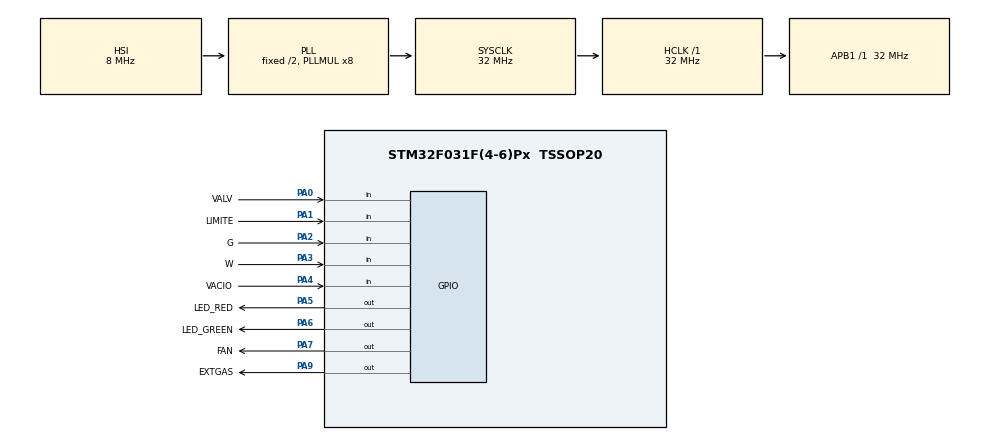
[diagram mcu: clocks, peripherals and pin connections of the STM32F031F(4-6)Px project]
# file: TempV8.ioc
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Mcu.Family=STM32F0
Mcu.Name=STM32F031F(4-6)Px
Mcu.Package=TSSOP20
NVIC.TIM16_IRQn=true\:0\:0\:false\:false\:true\:true\:true
PA0.GPIO_Label=VALV
PA0.Signal=GPIO_Input
PA1.GPIO_Label=LIMITE
PA1.Signal=GPIO_Input
PA13.Mode=Serial_Wire
PA13.Signal=SYS_SWDIO
PA14.Mode=Serial_Wire
PA14.Signal=SYS_SWCLK
PA2.GPIO_Label=G
PA2.Signal=GPIO_Input
PA3.GPIO_Label=W
PA3.Signal=GPIO_Input
PA4.GPIO_Label=VACIO
PA4.Signal=GPIO_Input
PA5.GPIO_Label=LED_RED
PA5.GPIO_Speed=GPIO_SPEED_FREQ_HIGH
PA5.Signal=GPIO_Output
PA6.GPIO_Label=LED_GREEN
PA6.GPIO_Speed=GPIO_SPEED_FREQ_HIGH
PA6.Signal=GPIO_Output
PA7.GPIO_Label=FAN
PA7.GPIO_Speed=GPIO_SPEED_FREQ_HIGH
PA7.Signal=GPIO_Output
PA9.GPIO_Label=EXTGAS
PA9.GPIO_Speed=GPIO_SPEED_FREQ_HIGH
PA9.Signal=GPIO_Output
ProjectManager.HeapSize=0x200
ProjectManager.StackSize=0x400
ProjectManager.TargetToolchain=STM32CubeIDE
RCC.AHBFreq_Value=32000000
RCC.APB1Freq_Value=32000000
RCC.APB1TimFreq_Value=32000000
RCC.HCLKFreq_Value=32000000
RCC.PLLMUL=RCC_PLL_MUL8
RCC.SYSCLKFreq_VALUE=32000000
RCC.SYSCLKSource=RCC_SYSCLKSOURCE_PLLCLK
TIM16.Period=5000 - 1
TIM16.Prescaler=3200 - 1
VP_TIM16_VS_ClockSourceINT.Mode=Enable_Timer
board=custom

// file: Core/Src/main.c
/* USER CODE BEGIN Header */
/**
  ******************************************************************************
  * @file           : main.c
  * @brief          : Main program body
  ******************************************************************************
  * @attention
  *
  * <h2><center>&copy; Copyright (c) 2023 STMicroelectronics.
  * All rights reserved.</center></h2>
  *
  * This software component is licensed by ST under BSD 3-Clause license,
  * the "License"; You may not use this file except in compliance with the
  * License. You may obtain a copy of the License at:
  *                        opensource.org/licenses/BSD-3-Clause
  *
  ******************************************************************************
  */
/* USER CODE END Header */
#include "main.h"

/* USER CODE BEGIN PD */
#define CLOSE 1
#define OPEN 0

#define FAIL_LIMIT 3
#define ERROR 1
#define CLEAR 0

#define G_sw 0
#define W_sw 1
#define LIM_sw 2
#define VALV_sw 3
#define VACIO_sw 4

#define ON 1
#define OFF 0
#define HEAT 1
#define COOL 2
#define HEAT_VENT 3
/* USER CODE END PD */

/* USER CODE BEGIN PM */
#define G HAL_GPIO_ReadPin(G_GPIO_Port, G_Pin)
#define W HAL_GPIO_ReadPin(W_GPIO_Port, W_Pin)
#define LIMITE HAL_GPIO_ReadPin(LIMITE_GPIO_Port, LIMITE_Pin)
#define VALV HAL_GPIO_ReadPin(VALV_GPIO_Port, VALV_Pin)
#define VACIO HAL_GPIO_ReadPin(VACIO_GPIO_Port, VACIO_Pin)

#define FAN_OFF HAL_GPIO_WritePin(FAN_GPIO_Port, FAN_Pin, OFF)
#define FAN_ON HAL_GPIO_WritePin(FAN_GPIO_Port, FAN_Pin, ON)
#define FAN_STATUS HAL_GPIO_ReadPin(FAN_GPIO_Port, FAN_Pin)

#define EXTGAS_OFF HAL_GPIO_WritePin(EXTGAS_GPIO_Port, EXTGAS_Pin, OFF)
#define EXTGAS_ON HAL_GPIO_WritePin(EXTGAS_GPIO_Port, EXTGAS_Pin, ON)
#define EXTGAS_STATUS HAL_GPIO_ReadPin(EXTGAS_GPIO_Port, EXTGAS_Pin)

#define LED_GREEN_OFF HAL_GPIO_WritePin(LED_GREEN_GPIO_Port, LED_GREEN_Pin, OFF)
#define LED_GREEN_ON HAL_GPIO_WritePin(LED_GREEN_GPIO_Port, LED_GREEN_Pin, ON)
#define LED_GREEN_TOGGLE HAL_GPIO_TogglePin(LED_GREEN_GPIO_Port, LED_GREEN_Pin)
#define LED_GREEN_STATUS HAL_GPIO_ReadPin(LED_GREEN_GPIO_Port, LED_GREEN_Pin)

#define LED_RED_OFF HAL_GPIO_WritePin(LED_RED_GPIO_Port, LED_RED_Pin, OFF)
#define LED_RED_ON HAL_GPIO_WritePin(LED_RED_GPIO_Port, LED_RED_Pin, ON)
#define LED_RED_TOGGLE HAL_GPIO_TogglePin(LED_RED_GPIO_Port, LED_RED_Pin)
#define LED_RED_STATUS HAL_GPIO_ReadPin(LED_RED_GPIO_Port, LED_RED_Pin)
/* USER CODE END PM */

TIM_HandleTypeDef htim16;

/* USER CODE BEGIN PV */
uint16_t proc_heat = 1, proc_cool = 1;
uint16_t sys = 0, cont = 0, cont_c = 0, hab_timer = 0, hab_timer_c = 0;
uint16_t fail_times = 0, fail_state = 0;
uint16_t state_vars[5] = {0,0,1,0,0}; // Variables used
uint16_t input_state[5] = {0,0,1,0,0}, count_vars[5] = {0,0,0,0,0};

// sys: 0 - OFF
//	    1 - HEAT
//      2 - COOL
//		3 - HEAT + Fixed FAN

/* USER CODE END PV */

void SystemClock_Config(void);
static void MX_GPIO_Init(void);
static void MX_TIM16_Init(void);
/* USER CODE BEGIN PFP */
void input_chk(void);        // Read inputs to work with '_sw' variables
void proc_state_vars(void);  // Process state variables
void main_sys(void);         // FSM
void indicator_update(void); // Sets LED outputs
void heat_process(void);	 // HEAT sequence
void cool_process(void);	 // COOL sequence
/* USER CODE END PFP */

/* USER CODE BEGIN 0 */
FLASH_OBProgramInitTypeDef OptionsBytesInit = {0};
/* USER CODE END 0 */

int main(void)
{

  /* MCU Configuration--------------------------------------------------------*/

  /* Reset of all peripherals, Initializes the Flash interface and the Systick. */
  HAL_Init();

  /* Configure the system clock */
  SystemClock_Config();

  /* USER CODE BEGIN SysInit */
  // RDP Level 1 Setting Start //
//  HAL_RCC_DeInit();
//  SysTick->CTRL = 0;
//  SysTick->LOAD = 0;
//  SysTick->VAL = 0;
//  __disable_irq();
  __HAL_FLASH_PREFETCH_BUFFER_DISABLE();
  /* Unlock Flash Control register and Option Bytes */
  HAL_FLASH_Unlock();
  HAL_FLASH_OB_Unlock();
  HAL_FLASHEx_OBGetConfig(&OptionsBytesInit);

  if(OptionsBytesInit.RDPLevel!=OB_RDP_LEVEL_1)
  {
	  /* First step: Choose option byte type.*/
	  OptionsBytesInit.OptionType =OPTIONBYTE_RDP;
	  OptionsBytesInit.RDPLevel = OB_RDP_LEVEL_1;
	  /* Program Option Bytes */
	  HAL_FLASHEx_OBProgram(&OptionsBytesInit);
	  /* Launch Option Bytes Loading */
	  HAL_FLASH_OB_Launch();
  }
  // RDP Level 1 Setting End //
  /* USER CODE END SysInit */

  /* Initialize all configured peripherals */
  MX_GPIO_Init();
  MX_TIM16_Init();
  /* USER CODE BEGIN 2 */
  HAL_TIM_Base_Start_IT(&htim16);

  /* USER CODE END 2 */

  /* Infinite loop */
  while (1)
  {

    /* USER CODE BEGIN 3 */
	proc_state_vars();
	main_sys();
  }
  /* USER CODE END 3 */
}

void SystemClock_Config(void)
{
  RCC_OscInitTypeDef RCC_OscInitStruct = {0};
  RCC_ClkInitTypeDef RCC_ClkInitStruct = {0};

  /** Initializes the RCC Oscillators according to the specified parameters
  * in the RCC_OscInitTypeDef structure.
  */
  RCC_OscInitStruct.OscillatorType = RCC_OSCILLATORTYPE_HSI;
  RCC_OscInitStruct.HSIState = RCC_HSI_ON;
  RCC_OscInitStruct.HSICalibrationValue = RCC_HSICALIBRATION_DEFAULT;
  RCC_OscInitStruct.PLL.PLLState = RCC_PLL_ON;
  RCC_OscInitStruct.PLL.PLLSource = RCC_PLLSOURCE_HSI;
  RCC_OscInitStruct.PLL.PLLMUL = RCC_PLL_MUL8;
  RCC_OscInitStruct.PLL.PREDIV = RCC_PREDIV_DIV1;
  if (HAL_RCC_OscConfig(&RCC_OscInitStruct) != HAL_OK)
  {
    Error_Handler();
  }
  /** Initializes the CPU, AHB and APB buses clocks
  */
  RCC_ClkInitStruct.ClockType = RCC_CLOCKTYPE_HCLK|RCC_CLOCKTYPE_SYSCLK
                              |RCC_CLOCKTYPE_PCLK1;
  RCC_ClkInitStruct.SYSCLKSource = RCC_SYSCLKSOURCE_PLLCLK;
  RCC_ClkInitStruct.AHBCLKDivider = RCC_SYSCLK_DIV1;
  RCC_ClkInitStruct.APB1CLKDivider = RCC_HCLK_DIV1;

  if (HAL_RCC_ClockConfig(&RCC_ClkInitStruct, FLASH_LATENCY_1) != HAL_OK)
  {
    Error_Handler();
  }
}

static void MX_TIM16_Init(void)
{

  htim16.Instance = TIM16;
  htim16.Init.Prescaler = 3200 - 1;
  htim16.Init.CounterMode = TIM_COUNTERMODE_UP;
  htim16.Init.Period = 5000 - 1;
  htim16.Init.ClockDivision = TIM_CLOCKDIVISION_DIV1;
  htim16.Init.RepetitionCounter = 0;
  htim16.Init.AutoReloadPreload = TIM_AUTORELOAD_PRELOAD_DISABLE;
  if (HAL_TIM_Base_Init(&htim16) != HAL_OK)
  {
    Error_Handler();
  }

}

static void MX_GPIO_Init(void)
{
  GPIO_InitTypeDef GPIO_InitStruct = {0};

  /* GPIO Ports Clock Enable */
  __HAL_RCC_GPIOA_CLK_ENABLE();

  /*Configure GPIO pin Output Level */
  HAL_GPIO_WritePin(GPIOA, LED_RED_Pin|LED_GREEN_Pin|FAN_Pin|EXTGAS_Pin, GPIO_PIN_RESET);

  /*Configure GPIO pins : VALV_Pin LIMITE_Pin G_Pin W_Pin
                           VACIO_Pin */
  GPIO_InitStruct.Pin = VALV_Pin|LIMITE_Pin|G_Pin|W_Pin
                          |VACIO_Pin;
  GPIO_InitStruct.Mode = GPIO_MODE_INPUT;
  GPIO_InitStruct.Pull = GPIO_NOPULL;
  HAL_GPIO_Init(GPIOA, &GPIO_InitStruct);

  /*Configure GPIO pins : LED_RED_Pin LED_GREEN_Pin FAN_Pin EXTGAS_Pin */
  GPIO_InitStruct.Pin = LED_RED_Pin|LED_GREEN_Pin|FAN_Pin|EXTGAS_Pin;
  GPIO_InitStruct.Mode = GPIO_MODE_OUTPUT_PP;
  GPIO_InitStruct.Pull = GPIO_NOPULL;
  GPIO_InitStruct.Speed = GPIO_SPEED_FREQ_HIGH;
  HAL_GPIO_Init(GPIOA, &GPIO_InitStruct);

}

/* USER CODE BEGIN 4 */
void HAL_TIM_PeriodElapsedCallback(TIM_HandleTypeDef *htim)
{
	if(htim == &htim16)
	{
		// Elapsed 0.5s
		if(hab_timer == 1){ // General counter
			cont++;
		}else{
			cont = 0;
		}

		if(hab_timer_c == 1){ // General counter
			cont_c++;
		}else{
			cont_c = 0;
		}

		input_chk();
		indicator_update();
	}
}

void input_chk(void)
{
	uint16_t i = 0;
	// Read actual input states
	input_state[0] = G;
	input_state[1] = W;
	input_state[2] = LIMITE;
	input_state[3] = VALV;
	input_state[4] = VACIO;
	// Process new states
	for(i = 0; i < 6; i++){
		if(input_state[i] != state_vars[i]){
			if((input_state[i] == CLOSE)&&(state_vars[i] == OPEN)){
				count_vars[i]++;
				if(count_vars[i] == 6){ // 3s
					state_vars[i] = CLOSE;
				}
			}
			else if((input_state[i] == OPEN)&&(state_vars[i] == CLOSE)){
				count_vars[i]++;
				if(count_vars[i] == 6){ // 3s
					state_vars[i] = OPEN;
				}
			}
		}else{
			if(count_vars[i] != 0) count_vars[i] = 0;
		}
	}

}

void proc_state_vars(void){
	if(state_vars[LIM_sw] == CLOSE){ // Normal operation
		if(sys == OFF){
			if(state_vars[G_sw] == CLOSE){
				sys = COOL;
			}else if(state_vars[W_sw] == CLOSE){
				sys = HEAT;
			}
		}

		if(fail_state == ERROR){
			fail_state = CLEAR;
			if(state_vars[G_sw] == OPEN){
				FAN_OFF;
			}
			proc_heat = 1;
		}
	}
	if(state_vars[LIM_sw] == OPEN){ // Limit OPEN
		if(fail_state == CLEAR){
			fail_state = ERROR;
			fail_times++;
			if(fail_times >= FAIL_LIMIT){
				sys = HEAT;
				hab_timer = 0;
				cont = 0;
				proc_heat = 5;
				EXTGAS_OFF;
				FAN_ON;
				while(1){
					// Endless block
				}
			}
		}
		if((sys != HEAT)||(proc_heat != 5)){
			sys = HEAT;
			hab_timer = 0;
			cont = 0;
			hab_timer_c = 0;
			cont_c = 0;
			proc_cool = 1;
			proc_heat = 5;
			EXTGAS_OFF;
			FAN_ON;
		}
		if(EXTGAS_STATUS == ON){
			EXTGAS_OFF;
		}
	}
}

void main_sys(void){
	switch(sys){
	case OFF:
		// System OFF
		break;
	case COOL:
		cool_process();
		break;
	case HEAT:
		heat_process();
		break;
	case HEAT_VENT:
		cool_process();
		heat_process();
	}
}

void indicator_update(void){
	if(fail_times >= FAIL_LIMIT){
		LED_GREEN_OFF;
		LED_RED_ON;
	}
	else{
		if(state_vars[LIM_sw] == CLOSE){
			if((sys == HEAT)&&(proc_heat == 3)){
				LED_RED_OFF;
				LED_GREEN_TOGGLE;
			}else if((sys == HEAT)&&(proc_heat == 1)&&(state_vars[VACIO_sw] == CLOSE)){
				if(LED_GREEN_STATUS == LED_RED_STATUS){
					LED_GREEN_OFF;
					LED_RED_ON;
				}else{
					LED_GREEN_TOGGLE;
					LED_RED_TOGGLE;
				}
			}else{
				LED_RED_OFF;
				if(LED_GREEN_STATUS == OFF){
					LED_GREEN_ON;
				}
			}
		}else if(state_vars[LIM_sw] == OPEN){
			LED_GREEN_OFF;
			LED_RED_TOGGLE;
		}
	}
}

void cool_process(void){
	switch(proc_cool){
	case 1:
		hab_timer_c = 1;
		cont_c = 0;
		proc_cool = 2;
		break;
	case 2:
		if((cont_c == 20)||(FAN_STATUS == ON)){ // 10s
			FAN_ON;
			hab_timer_c = 0;
			cont_c = 0;
			proc_cool = 3;
		}
		break;
	case 3:
		// COOL ON
		break;
	}
	if(sys != OFF){
		if(sys == COOL){
			if(state_vars[G_sw] == OPEN){
				hab_timer_c = 0;
				cont_c = 0;
				proc_cool = 1;
				FAN_OFF;
				sys = OFF;
			}else if(state_vars[W_sw] == CLOSE){
				sys = HEAT_VENT;
			}
		}else if(sys == HEAT_VENT){
			if(state_vars[G_sw] == OPEN){
				hab_timer_c = 0;
				cont_c = 0;
				proc_cool = 1;
				sys = HEAT;
				if(proc_heat < 5){
					FAN_OFF;
				}
			}else if(state_vars[W_sw] == OPEN){
				if(EXTGAS_STATUS == OFF){
					hab_timer = 0;
					cont = 0;
					proc_heat = 1;
					sys = COOL;
				}
			}
		}
	}
}

void heat_process(void){
	switch(proc_heat){
	case 1:
		if(state_vars[VACIO_sw] == OPEN){ // Checkeo sensor de vacio
			hab_timer = 1;
			cont = 0;
			proc_heat = 2;
		}
		break;
	case 2:
		if(state_vars[VACIO_sw] == CLOSE){ // Checkeo sensor de vacio
			hab_timer = 0;
			cont = 0;
			proc_heat = 1;
		}
		if(cont == 20){ // 10 segundos
			EXTGAS_ON;
			hab_timer = 0;
			cont = 0;
			proc_heat = 3;
		}
		break;
	case 3:
		if(state_vars[VALV_sw] == CLOSE){ // Espera valvula
			proc_heat = 4;
			hab_timer = 1;
			cont = 0;
		}
		break;
	case 4:
		if((cont == 40)||(FAN_STATUS == ON)){ // 20 segundos
			FAN_ON;
			hab_timer = 0;
			cont = 0;
			proc_heat = 5;
		}
		break;
	case 5:
		// Funcionamiento
		break;
	case 6:
		if((cont == 40)||(EXTGAS_STATUS == OFF)){ // 20 segundos
			EXTGAS_OFF;
			cont = 0;
			proc_heat = 7;
		}
		break;
	case 7:
		if((cont == 310)||(FAN_STATUS == OFF)){ // 2 min 35 seg
			FAN_OFF;
			hab_timer = 0;
			cont = 0;
			sys = OFF;
			proc_heat = 1;
		}
		break;
	}

	if(sys != OFF){
		if((state_vars[W_sw] == OPEN)&&(proc_heat <= 5)&&(state_vars[LIM_sw] == CLOSE)){ // Corta señal
			proc_heat = 6;
			hab_timer = 1;
			cont = 0;
		}
		if((state_vars[W_sw] == CLOSE)&&(proc_heat > 5)){ // Vuelve señal antes de terminar anterior
			hab_timer = 0;
			cont = 0;
			if(EXTGAS_STATUS == ON){
				proc_heat = 5;
			}else{
				proc_heat = 1;
			}
		}
		if((state_vars[G_sw] == CLOSE)&&(state_vars[LIM_sw] == CLOSE)){
			sys = HEAT_VENT;
		}
	}
}
/* USER CODE END 4 */

void Error_Handler(void)
{
  __disable_irq();
  while (1)
  {
  }
}

/************************ (C) COPYRIGHT STMicroelectronics *****END OF FILE****/
